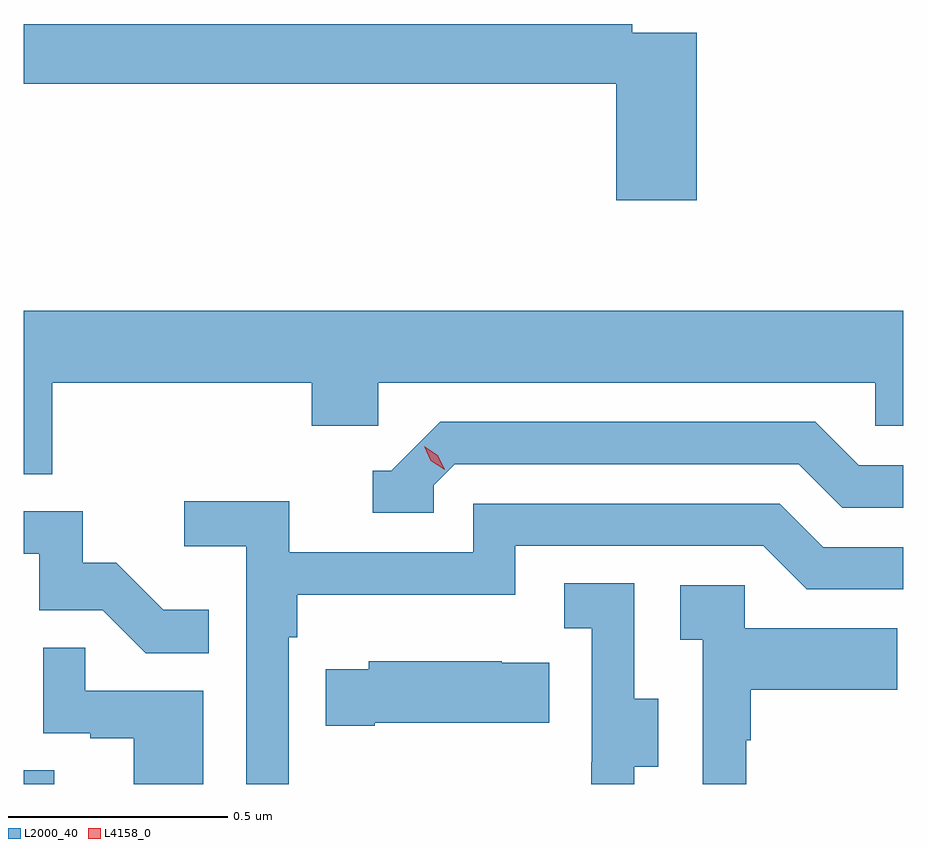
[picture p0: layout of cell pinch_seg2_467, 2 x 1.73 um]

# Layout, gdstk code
import gdstk
lib = gdstk.Library(unit=1e-6, precision=1e-09)
def R(c, l, rs):  # rectangles x0, y0, x1, y1
    for r in rs: c.add(gdstk.rectangle(r[:2], r[2:], *l))
def P(c, l, *ps):  # polygons
    for p in ps: c.add(gdstk.Polygon(p, *l))
L2000_40 = (2000, 40)
L4158_0 = (4158, 0)

pinch_seg2_467 = lib.new_cell('pinch_seg2_467')
R(pinch_seg2_467, L2000_40, [(904.354,601.435,904.423,601.466)])
P(pinch_seg2_467, L2000_40, [(905.885,603.144),(905.738,603.144),(905.738,603.164),(904.354,603.164),(904.354,603.028),(905.702,603.028),(905.702,602.763),(905.885,602.763)],
  [(904.418,602.348),(905.009,602.348),(905.009,602.25),(905.16,602.25),(905.16,602.348),(906.291,602.348),(906.291,602.25),(906.354,602.25),(906.354,602.512),(904.354,602.512),(904.354,602.14),(904.418,602.14)],
  [(905.286,602.115),(905.334,602.163),(906.117,602.163),(906.216,602.064),(906.354,602.064),(906.354,602.16),(906.253,602.16),(906.154,602.259),(905.301,602.259),(905.19,602.148),(905.147,602.148),(905.147,602.052),(905.286,602.052)],
  [(904.956,601.769),(904.976,601.769),(904.976,601.865),(905.472,601.865),(905.472,601.977),(906.036,601.977),(906.135,601.878),(906.354,601.878),(906.354,601.974),(906.172,601.974),(906.073,602.073),(905.376,602.073),(905.376,601.962),(904.958,601.962),(904.958,602.078),(904.719,602.078),(904.719,601.976),(904.86,601.976),(904.86,601.435),(904.956,601.435)],
  [(904.775,601.831),(904.671,601.831),(904.564,601.938),(904.488,601.938),(904.488,602.055),(904.354,602.055),(904.354,601.959),(904.389,601.959),(904.389,601.83),(904.533,601.83),(904.631,601.732),(904.775,601.732)],
  [(905.743,601.474),(905.797,601.474),(905.797,601.629),(905.742,601.629),(905.742,601.892),(905.583,601.892),(905.583,601.789),(905.646,601.789),(905.646,601.485),(905.645,601.485),(905.645,601.435),(905.743,601.435)],
  [(905.997,601.535),(906.007,601.535),(906.007,601.649),(906.341,601.649),(906.341,601.789),(905.994,601.789),(905.994,601.887),(905.847,601.887),(905.847,601.763),(905.898,601.763),(905.898,601.435),(905.997,601.435)],
  [(904.762,601.647),(904.493,601.647),(904.493,601.745),(904.398,601.745),(904.398,601.551),(904.505,601.551),(904.505,601.539),(904.604,601.539),(904.604,601.435),(904.762,601.435)],
  [(905.152,601.574),(905.549,601.574),(905.549,601.711),(905.441,601.711),(905.441,601.714),(905.139,601.714),(905.139,601.696),(905.041,601.696),(905.041,601.567),(905.152,601.567)])
P(pinch_seg2_467, L4158_0, [(905.311,602.15),(905.28,602.17),(905.265,602.203),(905.265,602.203),(905.265,602.203),(905.295,602.183),(905.311,602.15),(905.311,602.15)])

lib.write_gds('pinch_seg2_467.gds')
